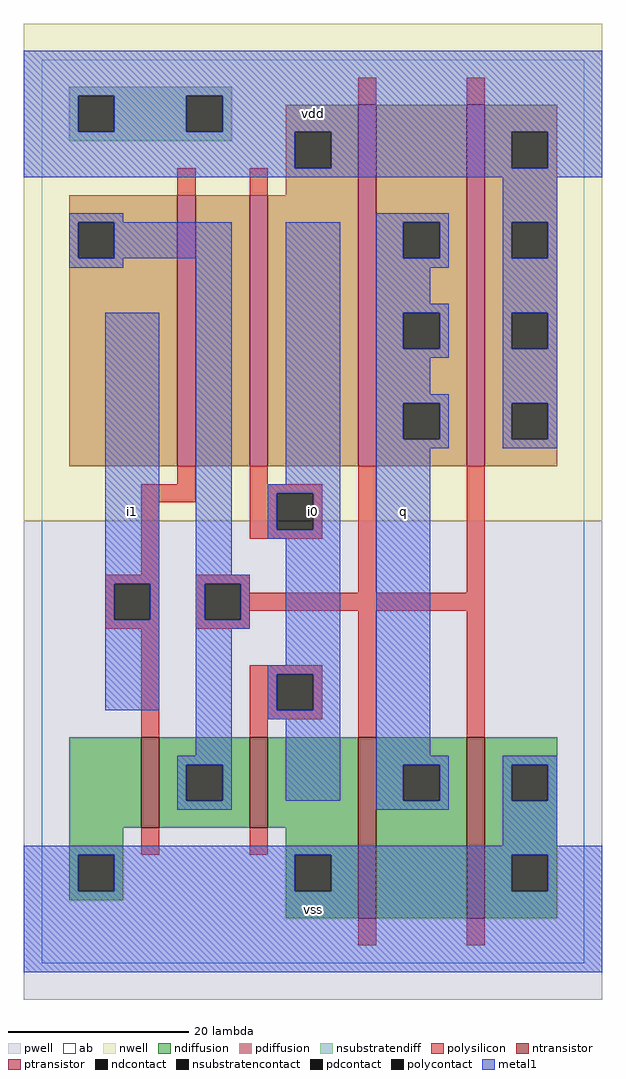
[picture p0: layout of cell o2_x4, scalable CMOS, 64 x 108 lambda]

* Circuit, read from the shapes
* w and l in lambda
.subckt o2_x4 i0 i1 q vdd vss
M1 n1 i1 vss VSUBS nfet w=10 l=2
M2 vss i0 n1 VSUBS nfet w=10 l=2
M3 q n1 vss VSUBS nfet w=20 l=2 m=2
M4 n2 i1 n1 vdd pfet w=30 l=2
M5 vdd i0 n2 vdd pfet w=30 l=2
M6 q n1 vdd vdd pfet w=40 l=2 m=2
.ends

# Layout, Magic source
magic
tech scmos
<< ab >>
rect 0 0 60 100
<< pwell >>
rect -2 -4 62 49
<< nwell >>
rect -2 49 62 104
<< polysilicon >>
rect 35 95 37 98
rect 47 95 49 98
rect 15 85 17 88
rect 23 85 25 88
rect 15 53 17 55
rect 11 51 17 53
rect 23 53 25 55
rect 23 52 31 53
rect 11 43 13 51
rect 23 48 26 52
rect 30 48 31 52
rect 23 47 31 48
rect 7 42 13 43
rect 7 38 8 42
rect 12 38 13 42
rect 7 37 13 38
rect 17 42 23 43
rect 17 38 18 42
rect 22 41 23 42
rect 35 41 37 55
rect 47 41 49 55
rect 22 39 49 41
rect 22 38 23 39
rect 17 37 23 38
rect 11 25 13 37
rect 23 32 31 33
rect 23 28 26 32
rect 30 28 31 32
rect 23 27 31 28
rect 23 25 25 27
rect 35 25 37 39
rect 47 25 49 39
rect 11 12 13 15
rect 23 12 25 15
rect 35 2 37 5
rect 47 2 49 5
<< ndiffusion >>
rect 3 15 11 25
rect 13 22 23 25
rect 13 18 16 22
rect 20 18 23 22
rect 13 15 23 18
rect 25 15 35 25
rect 3 12 9 15
rect 27 12 35 15
rect 3 8 4 12
rect 8 8 9 12
rect 3 7 9 8
rect 27 8 28 12
rect 32 8 35 12
rect 27 5 35 8
rect 37 22 47 25
rect 37 18 40 22
rect 44 18 47 22
rect 37 5 47 18
rect 49 22 57 25
rect 49 18 52 22
rect 56 18 57 22
rect 49 12 57 18
rect 49 8 52 12
rect 56 8 57 12
rect 49 5 57 8
<< pdiffusion >>
rect 27 92 35 95
rect 27 88 28 92
rect 32 88 35 92
rect 27 85 35 88
rect 3 82 15 85
rect 3 78 4 82
rect 8 78 15 82
rect 3 55 15 78
rect 17 55 23 85
rect 25 55 35 85
rect 37 82 47 95
rect 37 78 40 82
rect 44 78 47 82
rect 37 72 47 78
rect 37 68 40 72
rect 44 68 47 72
rect 37 62 47 68
rect 37 58 40 62
rect 44 58 47 62
rect 37 55 47 58
rect 49 92 57 95
rect 49 88 52 92
rect 56 88 57 92
rect 49 82 57 88
rect 49 78 52 82
rect 56 78 57 82
rect 49 72 57 78
rect 49 68 52 72
rect 56 68 57 72
rect 49 62 57 68
rect 49 58 52 62
rect 56 58 57 62
rect 49 55 57 58
<< metal1 >>
rect -2 96 62 101
rect -2 92 4 96
rect 8 92 16 96
rect 20 92 62 96
rect -2 88 28 92
rect 32 88 52 92
rect 56 88 62 92
rect -2 87 62 88
rect 3 82 9 83
rect 37 82 45 83
rect 3 78 4 82
rect 8 78 21 82
rect 3 77 9 78
rect 7 42 13 72
rect 7 38 8 42
rect 12 38 13 42
rect 7 28 13 38
rect 17 43 21 78
rect 27 53 33 82
rect 25 52 33 53
rect 25 48 26 52
rect 30 48 33 52
rect 25 47 33 48
rect 17 42 23 43
rect 17 38 18 42
rect 22 38 23 42
rect 17 37 23 38
rect 17 23 21 37
rect 27 33 33 47
rect 25 32 33 33
rect 25 28 26 32
rect 30 28 33 32
rect 25 27 33 28
rect 15 22 21 23
rect 15 18 16 22
rect 20 18 21 22
rect 27 18 33 27
rect 37 78 40 82
rect 44 78 45 82
rect 37 77 45 78
rect 51 82 57 87
rect 51 78 52 82
rect 56 78 57 82
rect 37 73 43 77
rect 37 72 45 73
rect 37 68 40 72
rect 44 68 45 72
rect 37 67 45 68
rect 51 72 57 78
rect 51 68 52 72
rect 56 68 57 72
rect 37 63 43 67
rect 37 62 45 63
rect 37 58 40 62
rect 44 58 45 62
rect 37 57 45 58
rect 51 62 57 68
rect 51 58 52 62
rect 56 58 57 62
rect 51 57 57 58
rect 37 23 43 57
rect 37 22 45 23
rect 37 18 40 22
rect 44 18 45 22
rect 15 17 21 18
rect 37 17 45 18
rect 51 22 57 23
rect 51 18 52 22
rect 56 18 57 22
rect 51 13 57 18
rect -2 12 62 13
rect -2 8 4 12
rect 8 8 28 12
rect 32 8 52 12
rect 56 8 62 12
rect -2 -1 62 8
<< ntransistor >>
rect 11 15 13 25
rect 23 15 25 25
rect 35 5 37 25
rect 47 5 49 25
<< ptransistor >>
rect 15 55 17 85
rect 23 55 25 85
rect 35 55 37 95
rect 47 55 49 95
<< polycontact >>
rect 26 48 30 52
rect 8 38 12 42
rect 18 38 22 42
rect 26 28 30 32
<< ndcontact >>
rect 16 18 20 22
rect 4 8 8 12
rect 28 8 32 12
rect 40 18 44 22
rect 52 18 56 22
rect 52 8 56 12
<< pdcontact >>
rect 28 88 32 92
rect 4 78 8 82
rect 40 78 44 82
rect 40 68 44 72
rect 40 58 44 62
rect 52 88 56 92
rect 52 78 56 82
rect 52 68 56 72
rect 52 58 56 62
<< nsubstratencontact >>
rect 4 92 8 96
rect 16 92 20 96
<< nsubstratendiff >>
rect 3 96 21 97
rect 3 92 4 96
rect 8 92 16 96
rect 20 92 21 96
rect 3 91 21 92
<< labels >>
rlabel metal1 10 50 10 50 6 i1
rlabel metal1 10 50 10 50 6 i1
rlabel metal1 30 6 30 6 6 vss
rlabel metal1 30 6 30 6 6 vss
rlabel metal1 40 50 40 50 6 q
rlabel metal1 40 50 40 50 6 q
rlabel metal1 30 50 30 50 6 i0
rlabel metal1 30 50 30 50 6 i0
rlabel metal1 30 94 30 94 6 vdd
rlabel metal1 30 94 30 94 6 vdd
<< end >>
